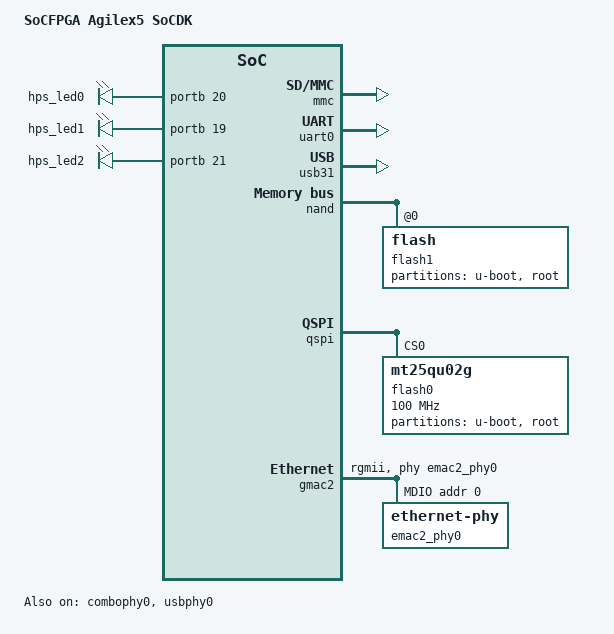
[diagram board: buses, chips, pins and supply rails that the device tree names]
// SPDX-License-Identifier:     GPL-2.0
/*
 * Copyright (C) 2019-2023 Intel Corporation <www.intel.com> 
 */
#include "socfpga_agilex5.dtsi"

/ {
	model = "SoCFPGA Agilex5 SoCDK";

	aliases {
		serial0 = &uart0;
		ethernet0 = &gmac0;
		ethernet2 = &gmac2;
	};

	leds {
		compatible = "gpio-leds";
		hps0 {
			label = "hps_led0";
			gpios = <&portb 20 GPIO_ACTIVE_HIGH>;
		};

		hps1 {
			label = "hps_led1";
			gpios = <&portb 19 GPIO_ACTIVE_HIGH>;
		};

		hps2 {
			label = "hps_led2";
			gpios = <&portb 21 GPIO_ACTIVE_HIGH>;
		};
	};

	memory {
		device_type = "memory";
		/* We expect the bootloader to fill in the reg */
		reg = <0 0 0 0>;
	};

	soc {
		clocks {
			osc1 {
				clock-frequency = <25000000>;
			};
		};
	};
};

&gpio0 {
	status = "okay";
};

&gpio1 {
	status = "okay";
};

&i2c0 {
	status = "disabled";
};

&i2c1 {
	status = "disabled";
};

&i3c0 {
    status = "disabled";
};

&i3c1 {
    status = "disabled";
};

&mmc {
	status = "okay";
};

&combophy0 {
	status = "okay";
};

&uart0 {
	status = "okay";
};

&usbphy0 {
	status = "okay";
};

&usb0 {
	status = "disabled";
	disable-over-current;
};

&usb31 {
	status = "okay";
};

&watchdog0 {
	status = "disabled";
};

&watchdog1 {
	status = "disabled";
};

&watchdog2 {
	status = "disabled";
};

&watchdog3 {
	status = "disabled";
};

&watchdog4 {
	status = "disabled";
};

&timer0 {
	status = "disabled";
};

&timer1 {
	status = "disabled";
};

&timer2 {
	status = "disabled";
};

&timer3 {
	status = "disabled";
};

&spi0 {
	status = "disabled";
};

&spi1 {
	status = "disabled";
};

&nand {
	status = "okay";

	flash1: flash@0 {
		reg = <0>;
		#address-cells = <1>;
		#size-cells = <1>;

		partition@0 {
			label = "u-boot";
			reg = <0 0x200000>;
		};
		partition@200000 {
			label = "root";
			reg = <0x200000 0x3fe00000>;
		};
	};
};

&qspi {
	flash0: flash@0 {
		#address-cells = <1>;
		#size-cells = <1>;
		compatible = "mt25qu02g";
		reg = <0>;
		spi-max-frequency = <100000000>;

		m25p,fast-read;
		cdns,page-size = <256>;
		cdns,block-size = <16>;
		cdns,read-delay = <1>;
		cdns,tshsl-ns = <50>;
		cdns,tsd2d-ns = <50>;
		cdns,tchsh-ns = <4>;
		cdns,tslch-ns = <4>;

		partitions {
			compatible = "fixed-partitions";
			#address-cells = <1>;
			#size-cells = <1>;

			qspi_boot: partition@0 {
				label = "u-boot";
				reg = <0x0 0x04200000>;
			};

			root: partition@4200000 {
				label = "root";
				reg = <0x04200000 0x0BE00000>;
			};
		};
	};
};

&gmac0 {
	status = "disabled";
	phy-mode = "rgmii";
	phy-handle = <&emac0_phy0>;

	max-frame-size = <9000>;

	mdio0 {
		#address-cells = <1>;
		#size-cells = <0>;
		compatible = "snps,dwxgmac-mdio";
		emac0_phy0: ethernet-phy@0 {
			reg = <0>;
		};
	};
};

&gmac2 {
	status = "okay";
	phy-mode = "rgmii";
	phy-handle = <&emac2_phy0>;

	max-frame-size = <9000>;

	mdio0 {
		#address-cells = <1>;
		#size-cells = <0>;
		compatible = "snps,dwxgmac-mdio";
		emac2_phy0: ethernet-phy@0 {
			reg = <0>;
		};
	};
};
